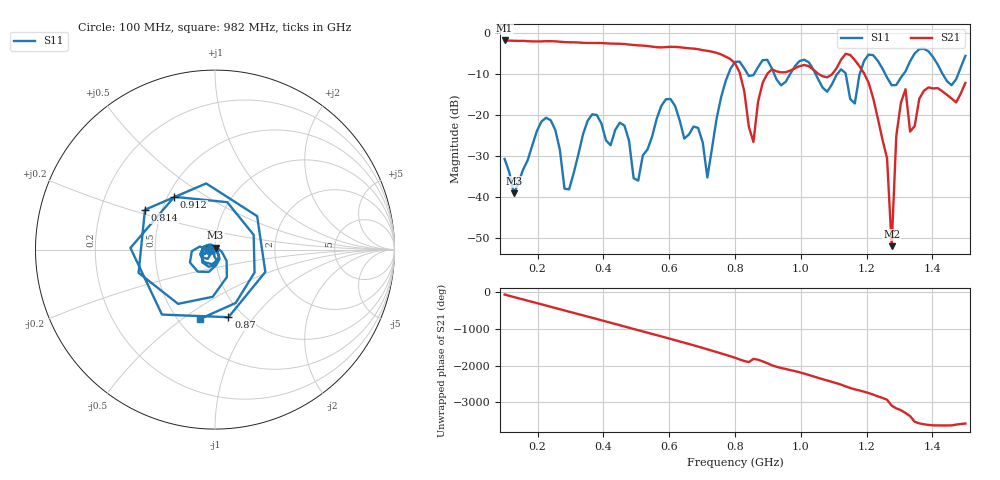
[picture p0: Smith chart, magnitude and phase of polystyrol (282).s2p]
! NanoVNA-App
! Date: 2025-09-25 15:32:05
! Start: 100MHz Stop: 1,5GHz Points: 101
! S-Parameter data: F S11 S21 S12 S22
# Hz S RI R 50
!  Frequency  S11_Real  S11_Imag  S21_Real  S21_Imag  S12_Real  S12_Imag  S22_Real  S22_Imag
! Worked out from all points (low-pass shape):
!   101 points, 100 MHz to 1.5 GHz, reference 50 ohm
!   highest |S21| = -1.80 dB at 100 MHz (marker M1); lowest = -52.0 dB at 1.276 GHz (marker M2)
!   |S21| within 3 dB of the highest: start of sweep to 743 MHz
!   lowest |S11| = -39.1 dB at 128 MHz (marker M3), VSWR 1.02, Z = 50.3 + j1.06 ohm
!   |S11| at or under -10 dB: start of sweep to 779.8 MHz; 1.045 GHz to 1.111 GHz (65.72 MHz wide, 6.1 % of centre); 1.257 GHz to 1.312 GHz (55.29 MHz wide, 4.31 % of centre) (the widest 3 of 7)
!   S12 and S22 are empty: the file has one direction only
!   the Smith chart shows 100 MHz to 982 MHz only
!   S11 on the Smith chart (normalised r, x): 100 MHz: 0.94, -0.01; 814 MHz: 0.40, +0.22; 870 MHz: 0.85, -0.76; 912 MHz: 0.54, +0.37; 982 MHz: 0.64, -0.58
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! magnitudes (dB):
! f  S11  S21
! 100 MHz  -30.7  -1.8
! 128 MHz  -39.1  -1.9
! 212 MHz  -21.6  -2.0
! 282 MHz  -38.0  -2.2
! 338 MHz  -24.8  -2.4
! 506 MHz  -36.0  -3.0
! 576 MHz  -17.8  -3.5
! 716 MHz  -35.2  -4.3
! 800 MHz  -7.0  -7.4
! 814 MHz  -7.0  -9.6
! 856 MHz  -10.3  -26.6
! 870 MHz  -8.3  -16.8
! 912 MHz  -8.6  -8.8
! 982 MHz  -8.1  -8.6
! 1.038 GHz  -8.9  -8.9
! 1.164 GHz  -17.2  -6.6
! 1.206 GHz  -5.2  -12.1
! 1.262 GHz  -10.8  -30.6
! 1.276 GHz  -12.7  -52.0
! 1.29 GHz  -12.7  -25.1
! 1.318 GHz  -9.3  -13.7
! 1.5 GHz  -5.6  -12.2
